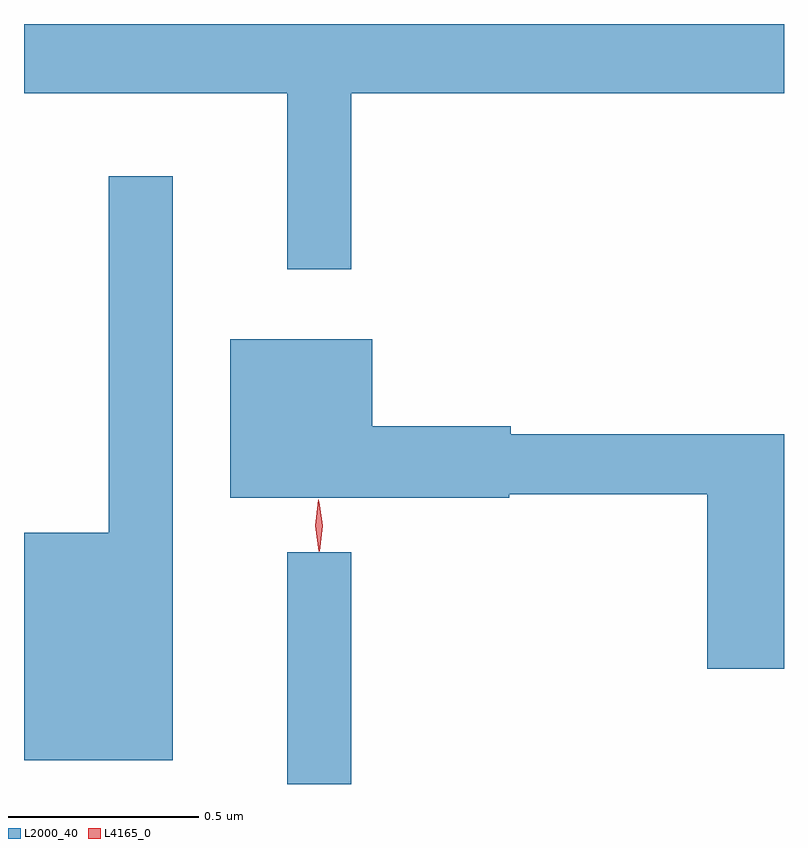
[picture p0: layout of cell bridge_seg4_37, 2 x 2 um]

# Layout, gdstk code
import gdstk
lib = gdstk.Library(unit=1e-6, precision=1e-09)
def R(c, l, rs):  # rectangles x0, y0, x1, y1
    for r in rs: c.add(gdstk.rectangle(r[:2], r[2:], *l))
def P(c, l, *ps):  # polygons
    for p in ps: c.add(gdstk.Polygon(p, *l))
L2000_40 = (2000, 40)
L4165_0 = (4165, 0)

bridge_seg4_37 = lib.new_cell('bridge_seg4_37')
R(bridge_seg4_37, L2000_40, [(1276.061,1377.278,1276.229,1377.888)])
P(bridge_seg4_37, L2000_40, [(1276.229,1379.096),(1277.368,1379.096),(1277.368,1379.278),(1275.368,1379.278),(1275.368,1379.096),(1276.061,1379.096),(1276.061,1378.633),(1276.229,1378.633)],
  [(1275.759,1378.878),(1275.591,1378.878),(1275.591,1377.939),(1275.368,1377.939),(1275.368,1377.341),(1275.759,1377.341)],
  [(1277.368,1378.199),(1276.649,1378.199),(1276.649,1378.219),(1276.284,1378.219),(1276.284,1378.449),(1275.911,1378.449),(1275.911,1378.031),(1276.645,1378.031),(1276.645,1378.041),(1277.166,1378.041),(1277.166,1377.581),(1277.368,1377.581)])
P(bridge_seg4_37, L4165_0, [(1276.144,1377.89),(1276.134,1377.958),(1276.142,1378.026),(1276.142,1378.026),(1276.143,1378.026),(1276.154,1377.958),(1276.146,1377.89),(1276.145,1377.89)],
  [(1276.145,1377.893),(1276.144,1377.894),(1276.135,1377.957),(1276.144,1378.021),(1276.144,1378.022),(1276.145,1378.021),(1276.154,1377.957),(1276.146,1377.894)])

lib.write_gds('bridge_seg4_37.gds')
